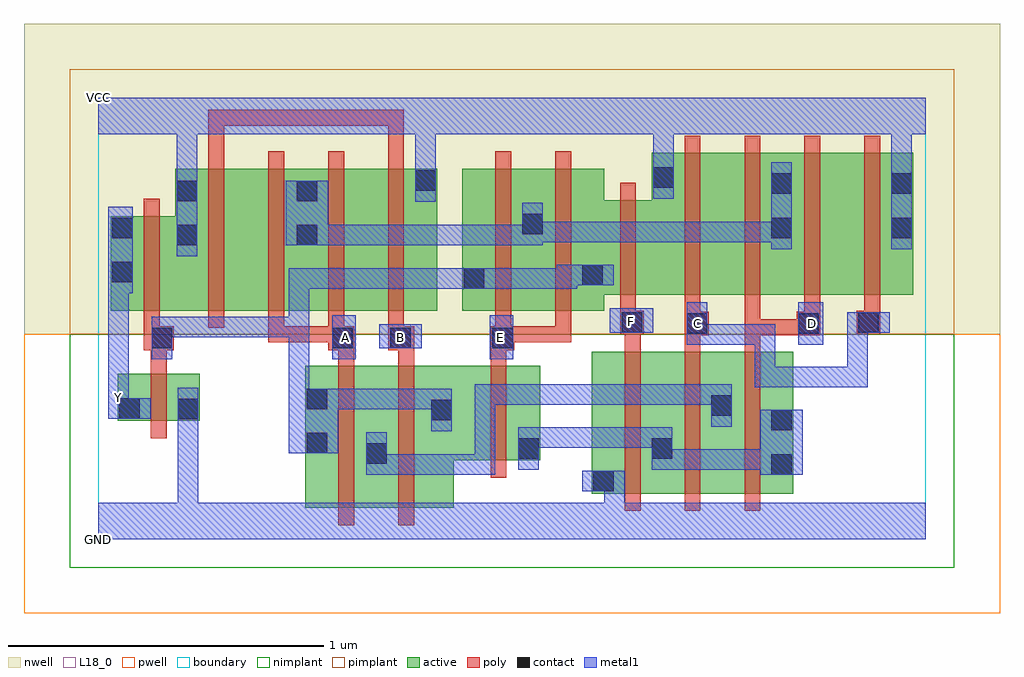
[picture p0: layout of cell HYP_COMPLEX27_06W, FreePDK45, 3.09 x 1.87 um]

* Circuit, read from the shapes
.subckt HYP_COMPLEX27_06W A B C D E F GND VCC Y
M1 GND n1 Y VSUBS nfet w=0.15u l=0.05u
M2 n2 A n1 VSUBS nfet w=0.45u l=0.05u
M3 n1 B n2 VSUBS nfet w=0.45u l=0.05u
M4 n3 E n1 VSUBS nfet w=0.3u l=0.05u
M5 n3 F GND VSUBS nfet w=0.45u l=0.05u
M6 n2 C n3 VSUBS nfet w=0.45u l=0.05u
M7 n3 D n2 VSUBS nfet w=0.45u l=0.05u
M8 VCC n1 Y n4 pfet w=0.3u l=0.05u
M9 n5 B VCC n4 pfet w=0.45u l=0.05u
M10 n6 A n5 n4 pfet w=0.45u l=0.05u
M11 n7 A n6 n4 pfet w=0.45u l=0.05u
M12 VCC B n7 n4 pfet w=0.45u l=0.05u
M13 n6 E n1 n4 pfet w=0.45u l=0.05u m=2
M14 VCC F n1 n4 pfet w=0.3u l=0.05u
M15 n8 C VCC n4 pfet w=0.45u l=0.05u
M16 n6 D n8 n4 pfet w=0.45u l=0.05u
M17 n9 D n6 n4 pfet w=0.45u l=0.05u
M18 VCC C n9 n4 pfet w=0.45u l=0.05u
.ends

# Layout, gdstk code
import gdstk
lib = gdstk.Library(unit=1e-6, precision=1e-09)
def R(c, l, rs):  # rectangles x0, y0, x1, y1
    for r in rs: c.add(gdstk.rectangle(r[:2], r[2:], *l))
def A(c, l, x, y, w, h, nx, ny, dx, dy):  # array of equal rectangles
    R(c, l, [(x+i*dx, y+j*dy, x+i*dx+w, y+j*dy+h) for i in range(nx) for j in range(ny)])
active = (1, 0)
pwell = (2, 0)
nwell = (3, 0)
nimplant = (4, 0)
pimplant = (5, 0)
poly = (9, 0)
contact = (10, 0)
metal1 = (11, 0)
L18_0 = (18, 0)
boundary = (235, 0)

hyp_complex27_06w = lib.new_cell('HYP_COMPLEX27_06W')
R(hyp_complex27_06w, active, [(0.657,0.1,0.92,0.55), (0.845,0.1,1.127,0.55), (0.657,0.145,0.732,0.55), (0.845,0.145,0.92,0.542), (1.565,0.145,1.64,0.595), (1.565,0.145,1.825,0.595), (1.75,0.145,2.015,0.595), (1.75,0.145,1.825,0.542), (1.94,0.145,2.015,0.595), (1.94,0.145,2.205,0.595), (2.13,0.145,2.205,0.595), (1.052,0.25,1.402,0.55), (1.327,0.25,1.402,0.55), (1.052,0.295,1.127,0.447), (0.062,0.375,0.137,0.525), (0.062,0.375,0.322,0.525), (0.247,0.375,0.322,0.525), (0.04,0.725,0.115,1.025), (0.04,0.725,0.32,1.025), (0.245,0.725,0.47,1.175), (0.47,0.725,0.7,1.175), (0.625,0.725,0.85,1.175), (0.85,0.725,1.075,1.175), (1.155,0.725,1.415,1.175), (1.155,0.725,1.23,1.047), (1.34,0.725,1.605,1.175), (0.625,0.732,0.7,1.175), (1.53,0.775,1.83,1.075), (1.755,0.775,1.98,1.225), (1.98,0.775,2.205,1.225), (2.13,0.775,2.36,1.225), (2.36,0.775,2.585,1.225), (2.51,0.775,2.585,1.165), (1.53,0.8,1.605,1.07), (1,0.857,1.075,1.175), (1.34,0.857,1.415,1.155), (2.13,0.857,2.205,1.2), (0.245,0.927,0.32,1.142), (1.755,0.995,1.83,1.225)])
R(hyp_complex27_06w, pwell, [(-0.235,-0.235,2.86,0.65)])
R(hyp_complex27_06w, nwell, [(-0.235,0.65,2.86,1.635)])
R(hyp_complex27_06w, nimplant, [(-0.09,-0.09,2.715,0.65)])
R(hyp_complex27_06w, pimplant, [(-0.09,0.65,2.715,1.49)])
A(hyp_complex27_06w, poly, 1.67, 0.09, 0.05, 0.56, 3, 1, 0.19, 0)
A(hyp_complex27_06w, poly, 0.54, 0.625, 0.05, 0.095, 3, 1, 0.19, 0)
A(hyp_complex27_06w, poly, 0.35, 0.67, 0.05, 0.56, 4, 1, 0.19, 0)
A(hyp_complex27_06w, poly, 1.86, 0.72, 0.05, 0.56, 4, 1, 0.19, 0)
R(hyp_complex27_06w, poly, [(0.762,0.045,0.812,0.605), (0.952,0.045,1.002,0.605), (1.245,0.195,1.295,0.605), (0.167,0.32,0.217,0.58), (0.167,0.53,0.217,0.65), (0.762,0.555,0.812,0.65), (0.952,0.555,1.002,0.65), (1.245,0.555,1.295,0.65), (0.145,0.6,0.24,0.675), (0.73,0.6,0.812,0.675), (0.92,0.6,1.002,0.675), (1.245,0.6,1.32,0.675), (1.67,0.6,1.72,0.7), (1.86,0.6,1.91,0.697), (2.05,0.6,2.1,0.697), (0.145,0.625,0.195,0.72), (0.54,0.625,0.59,0.675), (0.54,0.625,0.78,0.675), (0.73,0.625,0.78,0.675), (0.73,0.625,0.78,0.675), (1.26,0.625,1.31,0.72), (1.27,0.625,1.5,0.675), (1.45,0.625,1.5,0.72), (1.45,0.625,1.5,0.675), (1.45,0.625,1.5,0.675), (1.45,0.625,1.5,0.675), (1.86,0.647,1.937,0.722), (2.05,0.647,2.265,0.697), (2.05,0.647,2.1,0.697), (2.05,0.647,2.1,0.697), (2.05,0.647,2.1,0.697), (2.05,0.647,2.1,0.77), (2.215,0.647,2.29,0.722), (1.655,0.65,1.73,0.725), (2.405,0.65,2.48,0.725), (0.145,0.67,0.195,1.08), (1.26,0.67,1.31,1.23), (1.45,0.67,1.5,1.23), (1.86,0.672,1.91,0.77), (2.24,0.672,2.29,0.77), (1.655,0.675,1.705,0.77), (2.43,0.675,2.48,0.77), (1.655,0.72,1.705,1.13), (0.35,1.18,0.4,1.362), (0.92,1.18,0.97,1.362), (0.35,1.312,0.4,1.362), (0.35,1.312,0.532,1.362), (0.482,1.312,0.532,1.362), (0.482,1.312,0.532,1.362), (0.482,1.312,0.532,1.362), (0.482,1.312,0.837,1.362), (0.787,1.312,0.837,1.362), (0.787,1.312,0.837,1.362), (0.787,1.312,0.837,1.362), (0.787,1.312,0.97,1.362), (0.92,1.312,0.97,1.362), (0.92,1.312,0.97,1.362), (0.92,1.312,0.97,1.362)])
R(hyp_complex27_06w, contact, [(1.57,0.152,1.635,0.217), (2.135,0.205,2.2,0.27), (0.85,0.24,0.915,0.305), (1.332,0.255,1.397,0.32), (1.755,0.255,1.82,0.32), (0.662,0.272,0.727,0.337), (2.135,0.345,2.2,0.41), (1.057,0.377,1.122,0.442), (0.252,0.38,0.317,0.445), (0.067,0.382,0.132,0.447), (1.945,0.392,2.01,0.457), (0.662,0.412,0.727,0.477), (0.17,0.605,0.235,0.67), (0.742,0.605,0.807,0.67), (0.927,0.605,0.992,0.67), (1.25,0.605,1.315,0.67), (1.867,0.652,1.932,0.717), (2.22,0.652,2.285,0.717), (1.66,0.655,1.725,0.72), (2.41,0.655,2.475,0.72), (1.16,0.795,1.225,0.86), (1.535,0.805,1.6,0.87), (0.045,0.815,0.11,0.88), (0.25,0.932,0.315,0.997), (0.63,0.932,0.695,0.997), (0.045,0.955,0.11,1.02), (2.135,0.955,2.2,1.02), (2.515,0.955,2.58,1.02), (1.345,0.967,1.41,1.032), (0.25,1.072,0.315,1.137), (0.63,1.072,0.695,1.137), (2.135,1.095,2.2,1.16), (2.515,1.095,2.58,1.16), (1.005,1.105,1.07,1.17), (1.76,1.115,1.825,1.18)])
R(hyp_complex27_06w, metal1, [(0,0,2.625,0.115), (0.252,0.05,0.317,0.115), (0.252,0.05,0.317,0.115), (0.252,0.05,0.317,0.41), (1.605,0.05,1.67,0.115), (1.605,0.05,1.67,0.115), (1.605,0.05,1.67,0.217), (1.535,0.152,1.67,0.217), (0.85,0.205,1.052,0.27), (0.85,0.205,0.915,0.34), (0.987,0.205,1.052,0.27), (0.987,0.205,1.122,0.27), (1.057,0.205,1.122,0.27), (1.057,0.205,1.26,0.27), (1.195,0.205,1.26,0.27), (1.195,0.205,1.26,0.492), (2.1,0.205,2.235,0.41), (1.332,0.22,1.397,0.355), (1.755,0.22,2.01,0.285), (1.755,0.22,1.82,0.355), (1.945,0.22,2.01,0.285), (1.945,0.22,2.01,0.285), (1.945,0.22,2.01,0.285), (1.945,0.22,2.147,0.285), (2.082,0.22,2.147,0.285), (2.082,0.22,2.165,0.285), (0.605,0.272,0.762,0.477), (1.332,0.29,1.397,0.355), (1.332,0.29,1.397,0.355), (1.332,0.29,1.657,0.355), (1.592,0.29,1.657,0.355), (1.592,0.29,1.657,0.355), (1.592,0.29,1.657,0.355), (1.592,0.29,1.82,0.355), (1.057,0.342,1.122,0.477), (0.252,0.345,0.317,0.41), (0.252,0.345,0.317,0.41), (0.252,0.345,0.317,0.41), (0.252,0.345,0.317,0.41), (0.252,0.345,0.317,0.48), (1.945,0.357,2.01,0.492), (0.032,0.382,0.097,0.447), (0.032,0.382,0.167,0.447), (0.032,0.382,0.097,0.517), (0.605,0.412,0.67,0.705), (0.697,0.412,0.762,0.477), (0.697,0.412,0.762,0.477), (0.697,0.412,0.9,0.477), (0.835,0.412,0.9,0.477), (0.835,0.412,0.9,0.477), (0.835,0.412,0.9,0.477), (0.835,0.412,1.122,0.477), (1.195,0.427,1.26,0.492), (1.195,0.427,1.26,0.492), (1.195,0.427,1.26,0.492), (1.195,0.427,1.397,0.492), (1.332,0.427,1.397,0.492), (1.332,0.427,1.52,0.492), (1.455,0.427,1.52,0.492), (1.455,0.427,1.657,0.492), (1.592,0.427,1.657,0.492), (1.592,0.427,1.795,0.492), (1.73,0.427,1.795,0.492), (1.73,0.427,1.795,0.492), (1.73,0.427,1.795,0.492), (1.73,0.427,2.01,0.492), (1.945,0.427,2.01,0.492), (1.945,0.427,2.01,0.492), (0.032,0.452,0.097,0.845), (2.082,0.482,2.147,0.547), (2.082,0.482,2.285,0.547), (2.082,0.482,2.147,0.682), (2.22,0.482,2.285,0.547), (2.22,0.482,2.44,0.547), (2.375,0.482,2.44,0.547), (2.375,0.482,2.44,0.72), (0.17,0.57,0.235,0.705), (0.742,0.57,0.817,0.71), (1.242,0.57,1.317,0.71), (0.892,0.605,1.027,0.682), (1.867,0.617,1.957,0.682), (1.867,0.617,1.932,0.752), (1.892,0.617,1.957,0.682), (1.892,0.617,2.147,0.682), (2.082,0.617,2.147,0.682), (2.082,0.617,2.147,0.682), (2.082,0.617,2.147,0.682), (2.22,0.617,2.3,0.752), (0.17,0.64,0.235,0.705), (0.17,0.64,0.235,0.705), (0.17,0.64,0.372,0.705), (0.307,0.64,0.372,0.705), (0.307,0.64,0.372,0.705), (0.307,0.64,0.372,0.705), (0.307,0.64,0.532,0.705), (0.467,0.64,0.532,0.705), (0.467,0.64,0.67,0.705), (0.605,0.64,0.67,0.86), (0.605,0.64,0.67,0.705), (1.622,0.655,1.76,0.732), (2.375,0.655,2.44,0.72), (2.375,0.655,2.44,0.72), (2.375,0.655,2.51,0.72), (0.032,0.78,0.11,1.055), (0.605,0.795,0.67,0.86), (0.605,0.795,0.67,0.86), (0.605,0.795,0.67,0.86), (0.605,0.795,0.915,0.86), (0.85,0.795,0.915,0.86), (0.85,0.795,1.052,0.86), (0.987,0.795,1.052,0.86), (0.987,0.795,1.052,0.86), (0.987,0.795,1.052,0.86), (0.987,0.795,1.19,0.86), (1.125,0.795,1.26,0.86), (1.195,0.795,1.26,0.86), (1.195,0.795,1.26,0.86), (1.195,0.795,1.427,0.86), (1.362,0.795,1.427,0.86), (1.362,0.795,1.52,0.86), (1.455,0.795,1.52,0.87), (1.455,0.805,1.565,0.87), (1.5,0.805,1.635,0.87), (0.25,0.897,0.315,1.172), (2.135,0.92,2.2,1.195), (2.515,0.92,2.58,1.195), (0.595,0.932,0.73,1.137), (0.665,0.932,0.73,0.997), (0.665,0.932,0.73,0.997), (0.665,0.932,0.9,0.997), (0.835,0.932,0.9,0.997), (0.835,0.932,1.052,0.997), (0.987,0.932,1.052,0.997), (0.987,0.932,1.052,0.997), (0.987,0.932,1.052,0.997), (0.987,0.932,1.26,0.997), (1.195,0.932,1.26,0.997), (1.195,0.932,1.26,0.997), (1.195,0.932,1.26,0.997), (1.195,0.932,1.41,0.997), (1.345,0.932,1.41,1.067), (1.345,0.942,1.52,1.007), (1.455,0.942,1.52,1.007), (1.455,0.942,1.565,1.007), (1.5,0.942,1.565,1.007), (1.5,0.942,1.795,1.007), (1.73,0.942,1.795,1.007), (1.73,0.942,1.795,1.007), (1.73,0.942,1.795,1.007), (1.73,0.942,1.795,1.007), (1.73,0.942,1.795,1.007), (1.73,0.942,1.957,1.007), (1.892,0.942,1.957,1.007), (1.892,0.942,1.957,1.007), (1.892,0.942,1.957,1.007), (1.892,0.942,2.147,1.007), (2.082,0.942,2.147,1.007), (2.082,0.942,2.2,1.007), (1.005,1.07,1.07,1.205), (1.76,1.08,1.825,1.215), (0.25,1.107,0.315,1.35), (2.515,1.13,2.58,1.35), (1.005,1.14,1.07,1.205), (1.005,1.14,1.07,1.205), (1.005,1.14,1.07,1.35), (1.76,1.15,1.825,1.215), (1.76,1.15,1.825,1.215), (1.76,1.15,1.825,1.35), (0,1.285,2.625,1.4), (0.25,1.285,0.315,1.35), (0.25,1.285,0.315,1.35), (2.515,1.285,2.58,1.35), (2.515,1.285,2.58,1.35)])
R(hyp_complex27_06w, L18_0, [(0,0,2.625,0.115), (0.252,0.05,0.317,0.115), (0.252,0.05,0.317,0.115), (0.252,0.05,0.317,0.41), (1.605,0.05,1.67,0.115), (1.605,0.05,1.67,0.115), (1.605,0.05,1.67,0.217), (1.535,0.152,1.67,0.217), (0.252,0.345,0.317,0.48), (0.252,0.345,0.317,0.41), (0.252,0.345,0.317,0.41), (0.252,0.345,0.317,0.41), (0.252,0.345,0.317,0.41), (0.032,0.382,0.167,0.447), (0.032,0.382,0.097,0.517), (0.032,0.382,0.097,0.447), (0.032,0.417,0.097,0.482), (0.032,0.452,0.097,0.845), (2.082,0.482,2.147,0.547), (2.082,0.482,2.147,0.682), (2.082,0.482,2.285,0.547), (2.22,0.482,2.285,0.547), (2.22,0.482,2.44,0.547), (2.375,0.482,2.44,0.547), (2.375,0.482,2.44,0.72), (0.742,0.57,0.817,0.71), (1.242,0.57,1.317,0.71), (0.892,0.605,1.027,0.682), (0.752,0.607,0.817,0.672), (0.927,0.607,0.992,0.672), (1.242,0.607,1.307,0.672), (1.867,0.617,1.932,0.752), (1.867,0.617,1.957,0.682), (1.892,0.617,1.957,0.682), (1.892,0.617,2.147,0.682), (2.082,0.617,2.147,0.682), (2.082,0.617,2.147,0.682), (2.082,0.617,2.147,0.682), (2.22,0.617,2.3,0.752), (1.867,0.652,1.932,0.717), (2.232,0.652,2.297,0.717), (1.622,0.655,1.76,0.732), (2.375,0.655,2.51,0.72), (2.375,0.655,2.44,0.72), (2.375,0.655,2.44,0.72), (1.657,0.657,1.722,0.722), (0.032,0.78,0.11,1.055), (0.25,0.897,0.315,1.172), (2.515,0.92,2.58,1.195), (1.005,1.07,1.07,1.205), (1.76,1.08,1.825,1.215), (0.25,1.107,0.315,1.35), (2.515,1.13,2.58,1.35), (1.005,1.14,1.07,1.205), (1.005,1.14,1.07,1.205), (1.005,1.14,1.07,1.35), (1.76,1.15,1.825,1.215), (1.76,1.15,1.825,1.215), (1.76,1.15,1.825,1.35), (0,1.285,2.625,1.4), (0.25,1.285,0.315,1.35), (0.25,1.285,0.315,1.35), (2.515,1.285,2.58,1.35), (2.515,1.285,2.58,1.35)])
R(hyp_complex27_06w, boundary, [(0,0,2.625,1.4)])
hyp_complex27_06w.add(gdstk.Label('A', (0.785,0.64), layer=11, texttype=0))
hyp_complex27_06w.add(gdstk.Label('B', (0.96,0.64), layer=11, texttype=0))
hyp_complex27_06w.add(gdstk.Label('C', (1.9,0.685), layer=11, texttype=0))
hyp_complex27_06w.add(gdstk.Label('D', (2.265,0.685), layer=11, texttype=0))
hyp_complex27_06w.add(gdstk.Label('E', (1.275,0.64), layer=11, texttype=0))
hyp_complex27_06w.add(gdstk.Label('F', (1.69,0.69), layer=11, texttype=0))
hyp_complex27_06w.add(gdstk.Label('Y', (0.065,0.45), layer=11, texttype=0))
hyp_complex27_06w.add(gdstk.Label('VCC', (0,1.4), layer=11, texttype=0))
hyp_complex27_06w.add(gdstk.Label('GND', (0,0), layer=11, texttype=0))

lib.write_gds('HYP_COMPLEX27_06W.gds')
